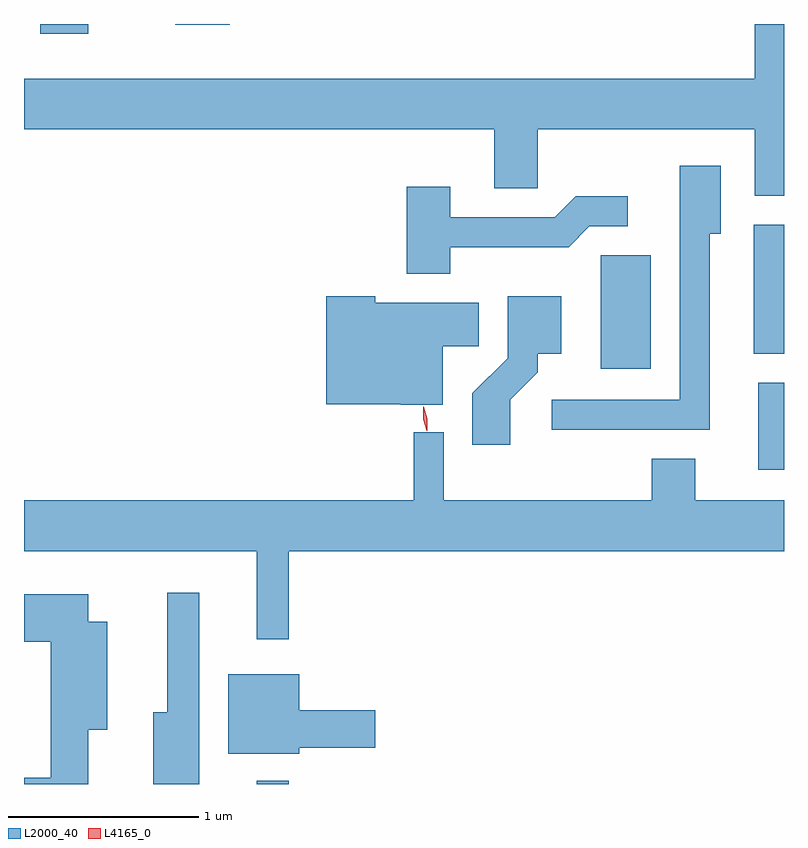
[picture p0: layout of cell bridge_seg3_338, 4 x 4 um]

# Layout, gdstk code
import gdstk
lib = gdstk.Library(unit=1e-6, precision=1e-09)
def R(c, l, rs):  # rectangles x0, y0, x1, y1
    for r in rs: c.add(gdstk.rectangle(r[:2], r[2:], *l))
def P(c, l, *ps):  # polygons
    for p in ps: c.add(gdstk.Polygon(p, *l))
L2000_40 = (2000, 40)
L4165_0 = (4165, 0)

bridge_seg3_338 = lib.new_cell('bridge_seg3_338')
R(bridge_seg3_338, L2000_40, [(528.661,1124.791,528.829,1124.808), (531.301,1126.446,531.436,1126.904), (530.471,1126.976,530.734,1127.574), (531.276,1127.056,531.436,1127.734), (527.521,1128.741,527.774,1128.791), (528.233,1128.786,528.519,1128.791)])
P(bridge_seg3_338, L2000_40, [(531.436,1128.791),(531.281,1128.791),(531.281,1128.504),(527.436,1128.504),(527.436,1128.236),(529.911,1128.236),(529.911,1127.926),(530.139,1127.926),(530.139,1128.236),(531.281,1128.236),(531.281,1127.886),(531.436,1127.886)],
  [(531.044,1127.686),(531.104,1127.686),(531.104,1128.044),(530.886,1128.044),(530.886,1126.814),(530.213,1126.814),(530.213,1126.656),(531.044,1126.656)],
  [(529.679,1127.616),(530.302,1127.616),(530.412,1127.726),(530.613,1127.726),(530.613,1127.884),(530.339,1127.884),(530.229,1127.774),(529.679,1127.774),(529.679,1127.934),(529.451,1127.934),(529.451,1127.476),(529.679,1127.476)],
  [(529.994,1126.814),(530.139,1126.959),(530.139,1127.056),(530.264,1127.056),(530.264,1127.359),(529.981,1127.359),(529.981,1127.032),(529.796,1126.847),(529.796,1126.576),(529.994,1126.576)],
  [(529.639,1127.096),(529.829,1127.096),(529.829,1127.324),(529.284,1127.324),(529.284,1127.359),(529.026,1127.359),(529.026,1126.791),(529.42,1126.791),(529.42,1126.786),(529.639,1126.786)],
  [(528.829,1126.016),(531.436,1126.016),(531.436,1126.284),(530.969,1126.284),(530.969,1126.504),(530.741,1126.504),(530.741,1126.284),(529.644,1126.284),(529.644,1126.643),(529.486,1126.643),(529.486,1126.284),(527.436,1126.284),(527.436,1126.016),(528.661,1126.016),(528.661,1125.553),(528.829,1125.553)],
  [(528.359,1125.798),(528.191,1125.798),(528.191,1125.169),(528.116,1125.169),(528.116,1124.791),(528.359,1124.791)],
  [(527.774,1125.076),(527.874,1125.076),(527.874,1125.644),(527.774,1125.644),(527.774,1125.789),(527.436,1125.789),(527.436,1125.541),(527.576,1125.541),(527.576,1124.824),(527.436,1124.824),(527.436,1124.791),(527.774,1124.791)],
  [(528.884,1124.981),(529.284,1124.981),(529.284,1125.179),(528.884,1125.179),(528.884,1125.369),(528.511,1125.369),(528.511,1124.951),(528.884,1124.951)])
P(bridge_seg3_338, L4165_0, [(529.556,1126.649),(529.538,1126.711),(529.538,1126.776),(529.539,1126.777),(529.539,1126.776),(529.558,1126.714),(529.558,1126.649),(529.557,1126.649)])

lib.write_gds('bridge_seg3_338.gds')
